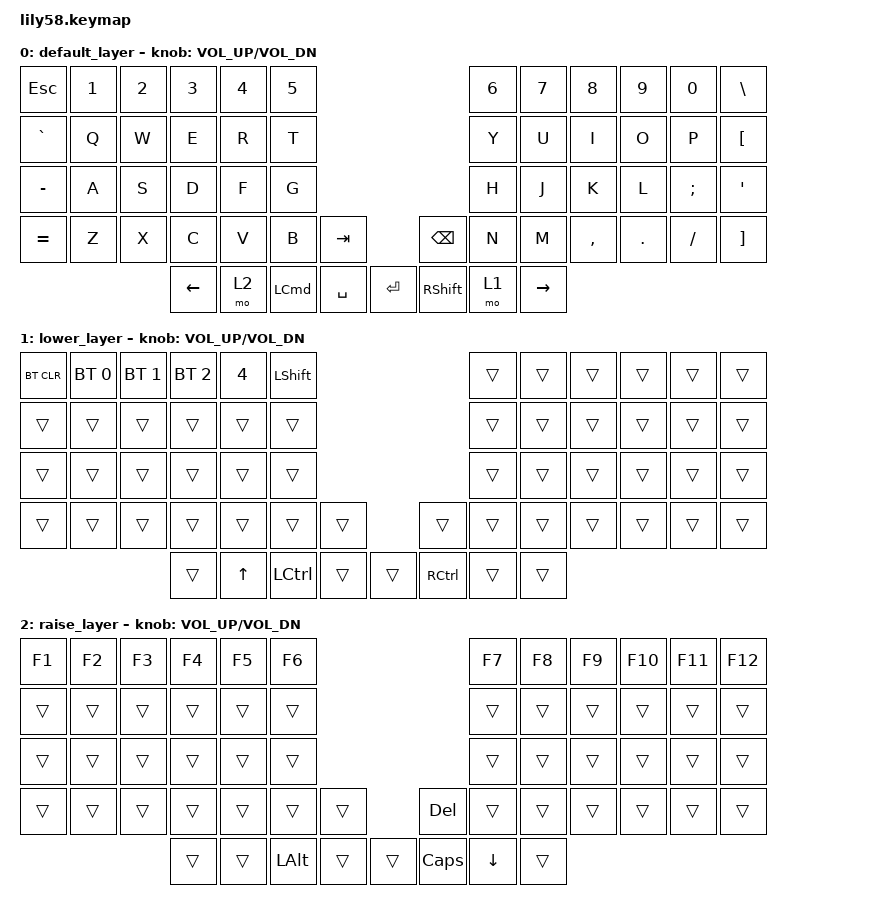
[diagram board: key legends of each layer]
/*
 * Copyright (c) 2020 The ZMK Contributors
 *
 * SPDX-License-Identifier: MIT
 */

#include <behaviors.dtsi>
#include <dt-bindings/zmk/keys.h>
#include <dt-bindings/zmk/bt.h>
#include <dt-bindings/zmk/ext_power.h>

/ {
	keymap {
		compatible = "zmk,keymap";

		default_layer {
// ------------------------------------------------------------------------------------------------------------
// |  ESC  |  1 |  2  |  3   |  4   |  5    |                         |  6    |  7    |  8    |  9   |   0   |   \   |
// |   `   |  Q |  W  |  E   |  R   |  T    |                         |  Y    |  U    |  I    |  O   |   P   |   [   |
// |   -   |  A |  S  |  D   |  F   |  G    |                         |  H    |  J    |  K    |  L   |   ;   |   '   |
// |   =   |  Z |  X  |  C   |  V   |  B    |  TAB      |  |  DELETE  |  N    |  M    |  ,    |  .   |   /   |   ]   |
//                  | <   |  RAISE  | LCMD  |   SPACE   |  |  ENTER   | RSHIFT  |  LOWER    |  >    |

			bindings = <
&kp ESC    &kp N1 &kp N2 &kp N3   &kp N4   &kp N5                                  &kp N6 &kp N7   &kp N8    &kp N9  &kp N0    &kp BSLH
&kp GRAVE  &kp Q  &kp W  &kp E    &kp R    &kp T                                   &kp Y  &kp U    &kp I     &kp O   &kp P     &kp LBKT
&kp MINUS  &kp A  &kp S  &kp D    &kp F    &kp G                                   &kp H  &kp J    &kp K     &kp L   &kp SEMI  &kp APOS
&kp EQUAL  &kp Z  &kp X  &kp C    &kp V    &kp B  &kp TAB           &kp BACKSPACE  &kp N  &kp M    &kp COMMA &kp DOT &kp SLASH &kp RBKT
                      &kp LEFT &mo 2 &kp LCMD  &kp SPACE     &kp RET  &kp RSHIFT  &mo 1  &kp RIGHT
			>;

			sensor-bindings = <&inc_dec_kp C_VOL_UP C_VOL_DN>;
		};

		lower_layer {

// ------------------------------------------------------------------------------------------------------------
// | BTCLR | BT1 | BT2 | BT3  | 4    |LSHIFT|                   |      |       |       |      |       |       |
// |       |     |     |      |      |      |                   |      |       |       |      |       |       |
// |       |     |     |      |      |      |                   |      |       |       |      |       |       |
// |       |     |     |      |      |      |        |  |       |      |       |       |      |       |       |
//                     |      |  UP  | LCTRL|        |  |       | RCTRL |       |       |
			bindings = <
&bt BT_CLR &bt BT_SEL 0 &bt BT_SEL 1 &bt BT_SEL 2 &kp N4 &kp LSHIFT                    &trans    &trans    &trans  &trans    &trans    &trans
&trans   &trans  &trans  &trans  &trans  &trans                                        &trans    &trans    &trans  &trans    &trans    &trans
&trans   &trans  &trans  &trans  &trans  &trans                                        &trans    &trans    &trans  &trans    &trans    &trans
&trans   &trans  &trans  &trans  &trans  &trans  &trans                         &trans &trans    &trans    &trans  &trans    &trans    &trans
                        &trans &kp UP &kp LCTRL &trans                              &trans &kp RCTRL  &trans  &trans
			>;

			sensor-bindings = <&inc_dec_kp C_VOL_UP C_VOL_DN>;
		};

		raise_layer {

// ------------------------------------------------------------------------------------------------------------
// |  F1   |  F2 | F3  |  F4  |  F5  |  F6  |                   |  F7  |   F8  |   F9  | F10  |  F11  |  F12  |
// |       |     |     |      |      |      |                   |      |       |       |      |       |       |
// |       |     |     |      |      |      |                   |      |       |       |      |       |       |
// |       |     |     |      |      |      |     |       |  BACKSPACE |       |       |      |       |       |
//                   |      |      | LALT |   |       |   | CAPSLOCK |  DOWN  |      |
			bindings = <
&kp F1   &kp F2  &kp F3  &kp F4   &kp F5  &kp F6                &kp F7  &kp F8    &kp F9    &kp F10   &kp F11    &kp F12
&trans   &trans &trans  &trans   &trans  &trans                 &trans &trans &trans &trans &trans  &trans
&trans   &trans &trans  &trans   &trans  &trans                &trans  &trans  &trans  &trans &trans &trans
&trans   &trans &trans  &trans   &trans  &trans &trans     &kp DELETE &trans &trans &trans &trans &trans &trans
                     &trans  &trans  &kp LALT &trans   &trans  &kp CAPSLOCK  &kp DOWN    &trans
			>;

			sensor-bindings = <&inc_dec_kp C_VOL_UP C_VOL_DN>;
		};
	};
};
